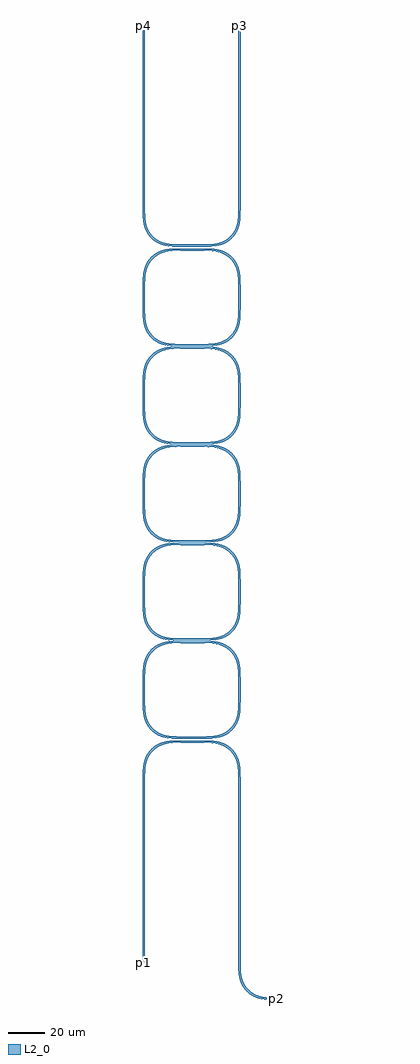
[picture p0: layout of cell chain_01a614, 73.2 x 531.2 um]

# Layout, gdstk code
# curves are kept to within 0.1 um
from math import pi, radians
import gdstk
lib = gdstk.Library(unit=1e-6, precision=1e-09)
def R(c, l, rs):  # rectangles x0, y0, x1, y1
    for r in rs: c.add(gdstk.rectangle(r[:2], r[2:], *l))
def P(c, l, *ps):  # polygons
    for p in ps: c.add(gdstk.Polygon(p, *l))
L2_0 = (2, 0)

bend_euler_gdsfactorypc_ = lib.new_cell('bend_euler_gdsfactorypc_f0601f7d')
P(bend_euler_gdsfactorypc_, L2_0, [(0,-0.6),(0,0.6),(5.886,0.821),(8.202,1.208),(10.126,1.77),(12.829,3.108),(15.079,4.921),(16.892,7.171),(18.23,9.874),(18.792,11.798),(19.179,14.114),(19.4,20),(20.6,20),(20.426,14.502),(19.7,10.515),(19.051,8.688),(18.238,7.072),(17.19,5.511),(16.013,4.159),(14.612,2.906),(13.003,1.806),(11.312,0.949),(9.618,0.339),(7.729,-0.116),(5.498,-0.426)])

straight_gdsfactorypcom_ = lib.new_cell('straight_gdsfactorypcom_4b85a3ac')
R(straight_gdsfactorypcom_, L2_0, [(0,-0.6,12,0.6)])

ring_resonator_euler_lx_ = lib.new_cell('ring_resonator_euler_LX_494c9b60')
ring_resonator_euler_lx_.add(gdstk.Reference(bend_euler_gdsfactorypc_, (0,0)))
ring_resonator_euler_lx_.add(gdstk.Reference(straight_gdsfactorypcom_, (20,20), rotation=pi/2))
ring_resonator_euler_lx_.add(gdstk.Reference(bend_euler_gdsfactorypc_, (20,32), rotation=pi/2))
ring_resonator_euler_lx_.add(gdstk.Reference(straight_gdsfactorypcom_, (0,52), rotation=pi))
ring_resonator_euler_lx_.add(gdstk.Reference(bend_euler_gdsfactorypc_, (-12,52), rotation=pi))
ring_resonator_euler_lx_.add(gdstk.Reference(straight_gdsfactorypcom_, (-32,32), rotation=3*pi/2, x_reflection=True))
ring_resonator_euler_lx_.add(gdstk.Reference(bend_euler_gdsfactorypc_, (-32,20), rotation=3*pi/2))
ring_resonator_euler_lx_.add(gdstk.Reference(straight_gdsfactorypcom_, (-12,0)))

c_straight_gdsfactorypcom_ = lib.new_cell('straight_gdsfactorypcom_1298df09')
R(c_straight_gdsfactorypcom_, L2_0, [(0,-0.6,100,0.6)])

io_coupler_1_l12_w1_2_r2 = lib.new_cell('io_Coupler_1_L12_w1.2_r20_3ea8a6')
io_coupler_1_l12_w1_2_r2.add(gdstk.Reference(straight_gdsfactorypcom_, (0,0)))
io_coupler_1_l12_w1_2_r2.add(gdstk.Reference(c_straight_gdsfactorypcom_, (-20,-20), rotation=3*pi/2))
io_coupler_1_l12_w1_2_r2.add(gdstk.Reference(c_straight_gdsfactorypcom_, (32,-20), rotation=3*pi/2))
io_coupler_1_l12_w1_2_r2.add(gdstk.Reference(bend_euler_gdsfactorypc_, (32,-20), rotation=pi/2))
io_coupler_1_l12_w1_2_r2.add(gdstk.Reference(bend_euler_gdsfactorypc_, (0,0), rotation=pi))
io_coupler_1_l12_w1_2_r2.add(gdstk.Reference(bend_euler_gdsfactorypc_, (32,-120), rotation=3*pi/2))

io_coupler_2_l12_w1_2_r2 = lib.new_cell('io_Coupler_2_L12_w1.2_r20_c314b1')
io_coupler_2_l12_w1_2_r2.add(gdstk.Reference(c_straight_gdsfactorypcom_, (20,120), rotation=3*pi/2))
io_coupler_2_l12_w1_2_r2.add(gdstk.Reference(straight_gdsfactorypcom_, (0,0), rotation=pi))
io_coupler_2_l12_w1_2_r2.add(gdstk.Reference(c_straight_gdsfactorypcom_, (-32,20), rotation=pi/2))
io_coupler_2_l12_w1_2_r2.add(gdstk.Reference(bend_euler_gdsfactorypc_, (0,0)))
io_coupler_2_l12_w1_2_r2.add(gdstk.Reference(bend_euler_gdsfactorypc_, (-32,20), rotation=3*pi/2))

chain_01a614 = lib.new_cell('chain_01a614')
P(chain_01a614, L2_0, [(-32,-122.8),(-32.54,-122.26),(-32.45,-122.26),(-32,-122.716),(-32,-122.26),(-32.54,-122.26),(-32.6,-122.2),(-31.4,-122.2)],
  [(40,-142.8),(40,-142.2),(40.06,-142.2),(40.06,-142.65),(40.516,-142.2),(40,-142.2),(40,-141.6),(40.6,-142.2)],
  [(19.4,387.8),(19.916,388.316),(20,388.316),(20,387.86),(20.45,387.86),(20,388.316),(19.916,388.316),(20,388.4),(20.6,387.8)],
  [(-32.6,387.8),(-32.084,388.316),(-32,388.316),(-32,387.86),(-31.55,387.86),(-32,388.316),(-32.084,388.316),(-32,388.4),(-31.4,387.8)])
chain_01a614.add(gdstk.Reference(ring_resonator_euler_lx_, (0,0)))
chain_01a614.add(gdstk.Reference(ring_resonator_euler_lx_, (0,53.4)))
chain_01a614.add(gdstk.Reference(ring_resonator_euler_lx_, (0,106.8)))
chain_01a614.add(gdstk.Reference(ring_resonator_euler_lx_, (0,160.2)))
chain_01a614.add(gdstk.Reference(ring_resonator_euler_lx_, (0,213.6)))
chain_01a614.add(gdstk.Reference(io_coupler_1_l12_w1_2_r2, (-12,-2.2)))
chain_01a614.add(gdstk.Reference(io_coupler_2_l12_w1_2_r2, (0,267.8)))
chain_01a614.add(gdstk.Label('p1', (-32,-122.2), layer=2, texttype=0))
chain_01a614.add(gdstk.Label('p2', (40,-142.2), layer=2, texttype=0))
chain_01a614.add(gdstk.Label('p3', (20,387.8), layer=2, texttype=0))
chain_01a614.add(gdstk.Label('p4', (-32,387.8), layer=2, texttype=0))

lib.write_gds('chain_01a614.gds')
